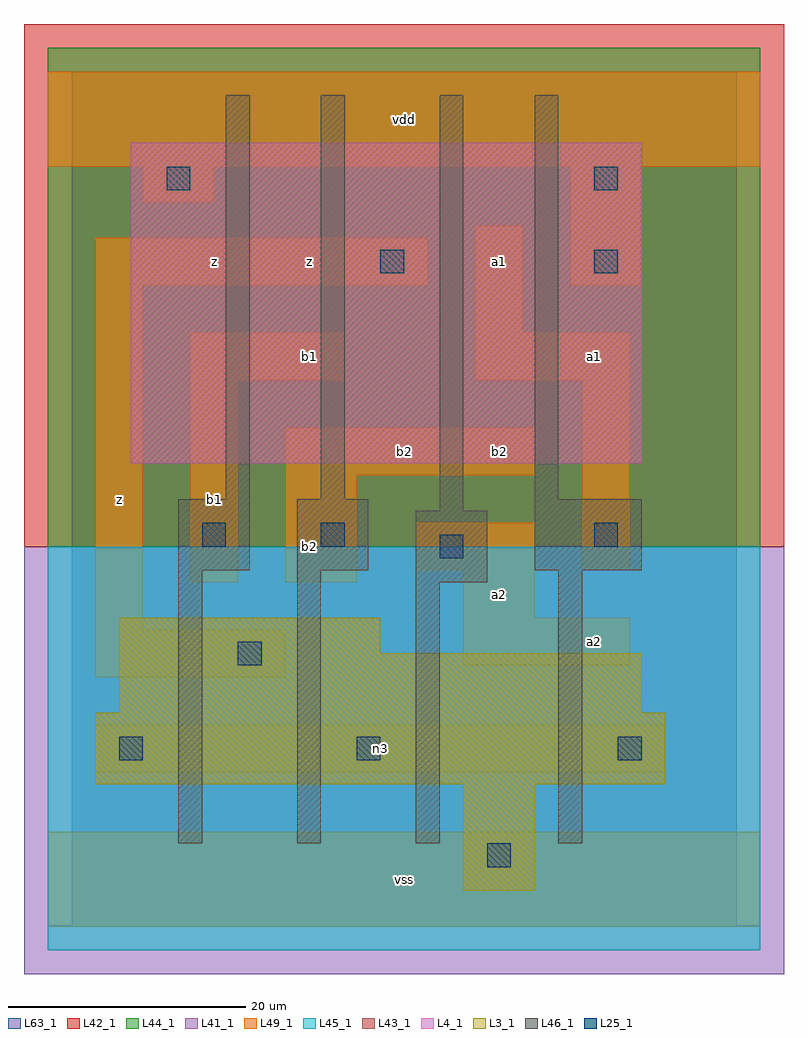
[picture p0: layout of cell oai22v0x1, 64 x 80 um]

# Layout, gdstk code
import gdstk
lib = gdstk.Library(unit=1e-6, precision=1e-09)
def R(c, l, rs):  # rectangles x0, y0, x1, y1
    for r in rs: c.add(gdstk.rectangle(r[:2], r[2:], *l))
L3_1 = (3, 1)
L4_1 = (4, 1)
L25_1 = (25, 1)
L41_1 = (41, 1)
L42_1 = (42, 1)
L43_1 = (43, 1)
L44_1 = (44, 1)
L45_1 = (45, 1)
L46_1 = (46, 1)
L49_1 = (49, 1)
L63_1 = (63, 1)

oai22v0x1 = lib.new_cell('oai22v0x1')
R(oai22v0x1, L3_1, [(33,3,39,12), (2,12,50,18), (4,18,48,23), (4,23,26,26)])
R(oai22v0x1, L4_1, [(5,39,48,66)])
R(oai22v0x1, L25_1, [(35,5,37,7), (4,14,6,16), (24,14,26,16), (46,14,48,16), (14,22,16,24), (31,31,33,33), (11,32,13,34), (21,32,23,34), (44,32,46,34), (26,55,28,57), (44,55,46,57), (8,62,10,64), (44,62,46,64)])
R(oai22v0x1, L41_1, [(-4,-4,60,32)])
R(oai22v0x1, L42_1, [(-4,32,60,76)])
R(oai22v0x1, L43_1, [(33,3,39,12), (2,12,50,18), (4,18,48,23), (4,23,26,26), (5,39,48,66)])
R(oai22v0x1, L44_1, [(-2,32,58,74)])
R(oai22v0x1, L45_1, [(-2,-2,58,32)])
R(oai22v0x1, L46_1, [(9,7,11,30), (19,7,21,30), (29,7,31,29), (41,7,43,30), (29,29,35,35), (9,30,15,36), (19,30,25,36), (39,30,48,36), (31,35,33,70), (13,36,15,70), (21,36,23,70), (39,36,41,70)])
R(oai22v0x1, L49_1, [(-2,0,58,8), (2,13,50,17), (2,21,18,25), (33,22,47,26), (2,25,6,54), (33,26,39,30), (10,29,14,46), (18,29,24,38), (29,30,39,34), (43,30,47,46), (18,38,39,42), (10,46,23,50), (34,46,47,50), (34,50,38,59), (2,54,30,58), (42,54,48,64), (6,61,12,64), (-2,64,58,72)])
R(oai22v0x1, L63_1, [(0,0,56,72)])
oai22v0x1.add(gdstk.Label('z', (4,36), layer=49, texttype=1))
oai22v0x1.add(gdstk.Label('b2', (20,32), layer=49, texttype=1))
oai22v0x1.add(gdstk.Label('b1', (12,36), layer=49, texttype=1))
oai22v0x1.add(gdstk.Label('b1', (20,48), layer=49, texttype=1))
oai22v0x1.add(gdstk.Label('z', (20,56), layer=49, texttype=1))
oai22v0x1.add(gdstk.Label('z', (12,56), layer=49, texttype=1))
oai22v0x1.add(gdstk.Label('vss', (28,4), layer=49, texttype=1))
oai22v0x1.add(gdstk.Label('a2', (36,28), layer=49, texttype=1))
oai22v0x1.add(gdstk.Label('b2', (36,40), layer=49, texttype=1))
oai22v0x1.add(gdstk.Label('b2', (28,40), layer=49, texttype=1))
oai22v0x1.add(gdstk.Label('a1', (36,56), layer=49, texttype=1))
oai22v0x1.add(gdstk.Label('vdd', (28,68), layer=49, texttype=1))
oai22v0x1.add(gdstk.Label('n3', (26,15), layer=49, texttype=1))
oai22v0x1.add(gdstk.Label('a2', (44,24), layer=49, texttype=1))
oai22v0x1.add(gdstk.Label('a1', (44,48), layer=49, texttype=1))

lib.write_gds('oai22v0x1.gds')
